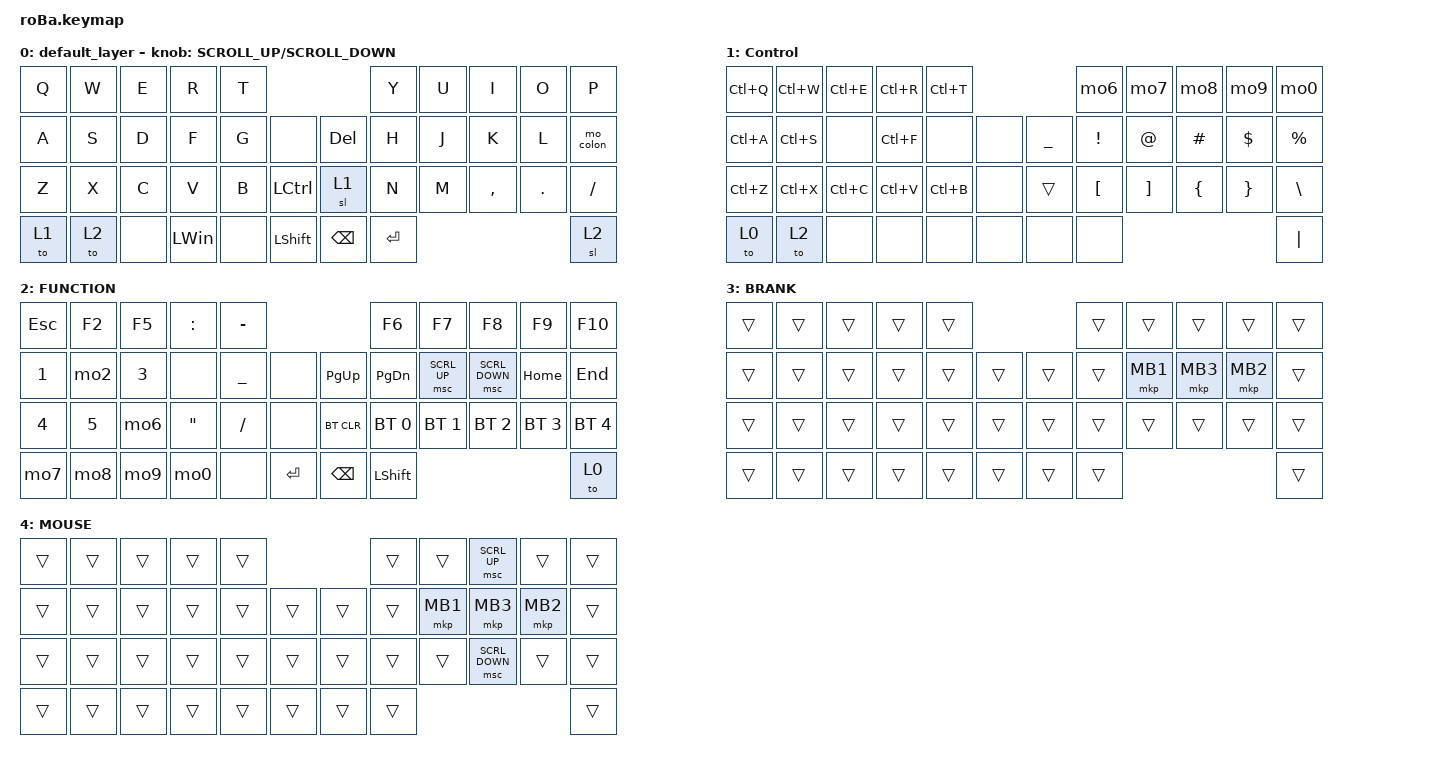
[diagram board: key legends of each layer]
// OS設定を日本語キーボードのまま使用するための変換定義

#define JP_DQUOTE       AT                // "
#define JP_AMPERSAND    CARET             // &
#define JP_QUOTE        AMPERSAND         // '
#define JP_EQUAL        UNDER             // =
#define JP_CARET        EQUAL             // ^
#define JP_YEN          0x89              // ¥
#define JP_PLUS         COLON             // +
#define JP_TILDE        PLUS              // ~
#define JP_PIPE         LS(0x89)          // |
#define JP_AT           LEFT_BRACKET      // @
#define JP_COLON        SINGLE_QUOTE      // :
#define JP_ASTERISK     DOUBLE_QUOTES     // *
#define JP_BACKQUOTE    LEFT_BRACE        // `
#define JP_UNDERSCORE   LS(0x87)          // _
#define JP_LBRACKET     RIGHT_BRACKET     // [
#define JP_RBRACKET     BACKSLASH         // ]
#define JP_LPAREN       ASTERISK          // (
#define JP_RPAREN       LEFT_PARENTHESIS  // )
#define JP_LBRACE       RIGHT_BRACE       // {
#define JP_RBRACE       PIPE              // }
#define JP_KANA         LANGUAGE_1        // かな
#define JP_EISU         LANGUAGE_2        // 英数
#define JP_HANZEN       GRAVE             // 半角/全角

#include <behaviors.dtsi>
#include <dt-bindings/zmk/bt.h>
#include <dt-bindings/zmk/keys.h>
#include <dt-bindings/zmk/pointing.h>

&mt {
    flavor = "balanced";
    quick-tap-ms = <0>;
};

&trackball {
    automouse-layer = <4>;
    scroll-layers = <5>;

    // arrows {
    //     layers = <3>;
    //     bindings =
    //         <&kp RIGHT_ARROW>,
    //         <&kp LEFT_ARROW>,
    //         <&kp UP_ARROW>,
    //         <&kp DOWN_ARROW>;
    //     tick = <10>;
    //     wait-ms = <5>;
    //     tap-ms = <5>;
    // };
};

/ {
    combos {
        compatible = "zmk,combos";

        tab {
            bindings = <&kp TAB>;
            key-positions = <13 12>;
        };

        shift_tab {
            bindings = <&kp LS(TAB)>;
            key-positions = <12 11>;
        };

        zenkaku_hankaku {
            bindings = <&to_layer_0 GRAVE>;
            key-positions = <11 10>;
        };

        AT_mark {
            bindings = <&kp LEFT_BRACKET>;
            key-positions = <18 19>;
        };

        LT_kakko {
            bindings = <&mo_left>;
            key-positions = <19 20>;
        };

        RT_kakko {
            bindings = <&mo_right>;
            key-positions = <31 32>;
        };
    };

    macros {
        to_layer_0: to_layer_0 {
            compatible = "zmk,behavior-macro-one-param";
            #binding-cells = <1>;
            bindings = <&to 2 &macro_param_1to1 &kp MACRO_PLACEHOLDER>;
            label = "TO_LAYER_0";
        };

        go_home: go_home {
            compatible = "zmk,behavior-macro";
            #binding-cells = <0>;
            bindings = <&go_home>, <&macro_tap>, <&kp LEFT_WIN &kp D>;

            label = "GO_HOME";
        };
    };

    behaviors {
        lt_to_layer_0: lt_to_layer_0 {
            compatible = "zmk,behavior-hold-tap";
            label = "LAYER_TAP_TO_0";
            bindings = <&mo>, <&to_layer_0>;

            #binding-cells = <2>;
            tapping-term-ms = <200>;
        };

        mo2: mo2 {
            compatible = "zmk,behavior-mod-morph";
            label = "MO2";
            bindings = <&kp NUMBER_2>, <&kp JP_DQUOTE>;

            #binding-cells = <0>;
            mods = <(MOD_LSFT)>;
        };

        mo6: mo6 {
            compatible = "zmk,behavior-mod-morph";
            label = "MO6";
            bindings = <&kp NUMBER_6>, <&kp JP_AMPERSAND >;

            #binding-cells = <0>;
            mods = <(MOD_LSFT)>;
        };

        mo7: mo7 {
            compatible = "zmk,behavior-mod-morph";
            label = "MO7";
            bindings = <&kp N7>, <&kp JP_QUOTE>;

            #binding-cells = <0>;
            mods = <(MOD_LSFT)>;
        };

        mo8: mo8 {
            compatible = "zmk,behavior-mod-morph";
            label = "MO8";
            bindings = <&kp N8>, <&kp JP_LPAREN>;

            #binding-cells = <0>;
            mods = <(MOD_LSFT)>;
        };

        mo9: mo9 {
            compatible = "zmk,behavior-mod-morph";
            label = "MO9";
            bindings = <&kp N9>, <&kp JP_RPAREN>;

            #binding-cells = <0>;
            mods = <(MOD_LSFT)>;
        };

        mo0: mo0 {
            compatible = "zmk,behavior-mod-morph";
            label = "MO0";
            bindings = <&kp N0>, <&mo 2>;

            #binding-cells = <0>;
            mods = <(MOD_LSFT)>;
        };

        mo_colon: mo_colon {
            compatible = "zmk,behavior-mod-morph";
            label = "MO_COLON";
            bindings = <&kp JP_COLON>, <&kp SEMICOLON>;

            #binding-cells = <0>;
            mods = <(MOD_LSFT)>;
        };

        mo_left: mo_left {
            compatible = "zmk,behavior-mod-morph";
            label = "MO_LEFT";
            bindings = <&kp ASTRK>, <&kp RIGHT_BRACE>;

            #binding-cells = <0>;
            mods = <(MOD_LSFT)>;
        };

        mo_right: mo_right {
            compatible = "zmk,behavior-mod-morph";
            label = "MO_RIGHT";
            bindings = <&kp LEFT_PARENTHESIS>, <&kp PIPE>;

            #binding-cells = <0>;
            mods = <(MOD_LSFT)>;
        };
    };

    keymap {
        compatible = "zmk,keymap";

        default_layer {
            bindings = <
&kp Q  &kp W  &kp E  &kp R         &kp T                                &kp Y      &kp U  &kp I      &kp O    &kp P
&kp A  &kp S  &kp D  &kp F         &kp G  &none          &kp DEL        &kp H      &kp J  &kp K      &kp L    &mo_colon
&kp Z  &kp X  &kp C  &kp V         &kp B  &kp LCTRL      &sl 1          &kp N      &kp M  &kp COMMA  &kp DOT  &kp SLASH
&to 1  &to 2  &none  &kp LEFT_WIN  &none  &kp LSHFT      &kp BACKSPACE  &kp ENTER                             &sl 2
            >;

            sensor-bindings = <&inc_dec_kp K_SCROLL_UP K_SCROLL_DOWN>;
        };

        Control {
            bindings = <
&kp LC(Q)  &kp LC(W)  &kp LC(E)  &kp LC(R)  &kp LC(T)                             &mo6              &mo7               &mo8            &mo9             &mo0
&kp LC(A)  &kp LC(S)  &none      &kp LC(F)  &none      &none      &kp UNDERSCORE  &kp EXCLAMATION   &kp AT_SIGN        &kp HASH        &kp DOLLAR       &kp PERCENT
&kp LC(Z)  &kp LC(X)  &kp LC(C)  &kp LC(V)  &kp LC(B)  &none      &trans          &kp LEFT_BRACKET  &kp RIGHT_BRACKET  &kp LEFT_BRACE  &kp RIGHT_BRACE  &kp BACKSLASH
&to 0      &to 2      &none      &none      &none      &none      &none           &none                                                                 &kp PIPE
            >;
        };

        FUNCTION {
            bindings = <
&kp ESCAPE    &kp F2  &kp F5        &kp JP_PLUS      &kp MINUS                                   &kp F6          &kp F7        &kp F8          &kp F9        &kp F10
&kp NUMBER_1  &mo2    &kp NUMBER_3  &none            &kp JP_EQUAL  &none          &kp PG_UP      &kp PG_DN       &msc SCRL_UP  &msc SCRL_DOWN  &kp HOME      &kp END
&kp NUMBER_4  &kp N5  &mo6          &kp JP_ASTERISK  &kp SLASH     &none          &bt BT_CLR     &bt BT_SEL 0    &bt BT_SEL 1  &bt BT_SEL 2    &bt BT_SEL 3  &bt BT_SEL 4
&mo7          &mo8    &mo9          &mo0             &none         &kp ENTER      &kp BACKSPACE  &kp LEFT_SHIFT                                              &to 0
            >;
        };

        BRANK {
            bindings = <
&trans  &trans  &trans  &trans  &trans                      &trans  &trans    &trans    &trans    &trans
&trans  &trans  &trans  &trans  &trans  &trans      &trans  &trans  &mkp MB1  &mkp MB3  &mkp MB2  &trans
&trans  &trans  &trans  &trans  &trans  &trans      &trans  &trans  &trans    &trans    &trans    &trans
&trans  &trans  &trans  &trans  &trans  &trans      &trans  &trans                                &trans
            >;
        };

        MOUSE {
            bindings = <
&trans  &trans  &trans  &trans  &trans                      &trans  &trans    &msc SCRL_UP    &trans    &trans
&trans  &trans  &trans  &trans  &trans  &trans      &trans  &trans  &mkp MB1  &mkp MB3        &mkp MB2  &trans
&trans  &trans  &trans  &trans  &trans  &trans      &trans  &trans  &trans    &msc SCRL_DOWN  &trans    &trans
&trans  &trans  &trans  &trans  &trans  &trans      &trans  &trans                                      &trans
            >;
        };
    };
};
